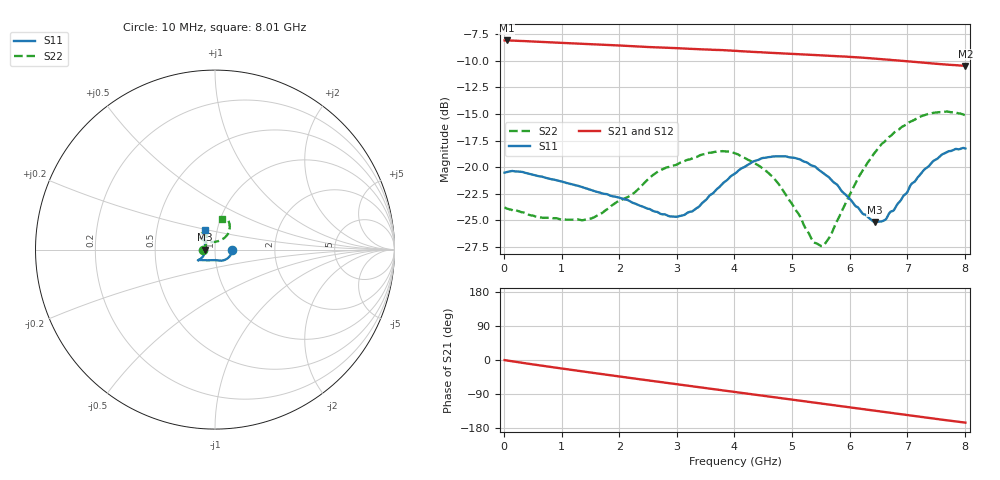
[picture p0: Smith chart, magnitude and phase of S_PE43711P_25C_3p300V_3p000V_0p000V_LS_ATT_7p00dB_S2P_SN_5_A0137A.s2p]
! Device ID: PE43711P
! File Path: z:\PE43711P\CHAR_NOM_04282014\AMB\3p300\LS_ATT_7p00dB\PE43711P_AMB_3p300V_3p000V_0p000V_LS_ATT_7p00dB_S2P_SN_5_A0137A.s2p
! Serial: 5
! Lot: A0137A
! Temp: 25C
! VDD: 3.300
! VSS: 0.000
! Control_Hi: 3.000
! Control_Lo: 0.000
! Attenuation Step: 7.00dB
! Port 1: RF1
! Port 2: RF2
! ThroughPath:1-2
! IDD: 0.0001282374
! ISS: -2.49e-008
#  Hz  S  RI  R  50
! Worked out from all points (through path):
!   801 points, 10 MHz to 8.01 GHz, reference 50 ohm
!   highest |S21| = -8.10 dB at 50 MHz (marker M1); lowest = -10.5 dB at 8.01 GHz (marker M2)
!   group delay of S21, straight-line fit = 57 ps
!   lowest |S11| = -25.2 dB at 6.44 GHz (marker M3), VSWR 1.12, Z = 44.8 + j0.0164 ohm
!   |S11| at or under -10 dB: start of sweep to end of sweep
!   |S22| runs from -27.4 to -14.8 dB; largest |S21 - S12| = 0.00064
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1e7  0.0943 -0.000364  0.3936 -0.00194  0.3938 -0.00207  -0.0648 0.000536
5e7  0.0949 -0.00235  0.3936 -0.00844  0.3937 -0.0084  -0.0639 0.00173
6.4e8  0.0831 -0.0356  0.3749 -0.098  0.3751 -0.0981  -0.0577 0.00613
1.35e9  0.0581 -0.056  0.3297 -0.189  0.33 -0.1891  -0.0522 0.0213
2.19e9  0.0311 -0.0617  0.2507 -0.2729  0.251 -0.273  -0.0467 0.0567
2.68e9  0.0133 -0.0597  0.1969 -0.3073  0.1971 -0.3075  -0.0508 0.0812
2.98e9  -0.00263 -0.0584  0.1618 -0.3242  0.1619 -0.3244  -0.0566 0.0851
3.27e9  -0.0206 -0.0585  0.1261 -0.3362  0.1263 -0.3365  -0.0635 0.0898
3.68e9  -0.051 -0.0592  0.0753 -0.3472  0.0752 -0.3474  -0.0782 0.0885
4.01e9  -0.0729 -0.0583  0.0333 -0.3503  0.033 -0.3505  -0.0864 0.0776
4.34e9  -0.0892 -0.0585  -0.00781 -0.3477  -0.00786 -0.3479  -0.0816 0.0657
4.68e9  -0.0952 -0.0595  -0.0489 -0.3401  -0.049 -0.3402  -0.07 0.055
5.11e9  -0.0922 -0.0587  -0.0978 -0.3245  -0.0979 -0.3246  -0.0406 0.0449
5.35e9  -0.086 -0.0541  -0.124 -0.3129  -0.1241 -0.3133  -0.0188 0.0413
5.5e9  -0.0808 -0.0512  -0.14 -0.3045  -0.14 -0.3048  -0.00391 0.0425
5.6e9  -0.0774 -0.0483  -0.1504 -0.2986  -0.1501 -0.2987  0.00669 0.0443
6.15e9  -0.0605 -0.0223  -0.2025 -0.2579  -0.2027 -0.2579  0.0566 0.0688
6.44e9  -0.0551 0.000183  -0.2253 -0.2321  -0.2254 -0.2322  0.0738 0.0912
6.68e9  -0.0559 0.0225  -0.2413 -0.2097  -0.2413 -0.2099  0.0803 0.1126
7.05e9  -0.0591 0.0563  -0.2615 -0.1728  -0.2613 -0.173  0.0807 0.142
7.45e9  -0.0623 0.0867  -0.2768 -0.1323  -0.2769 -0.1324  0.0669 0.1669
8.01e9  -0.057 0.1083  -0.2894 -0.0757  -0.2896 -0.0751  0.0402 0.1705
